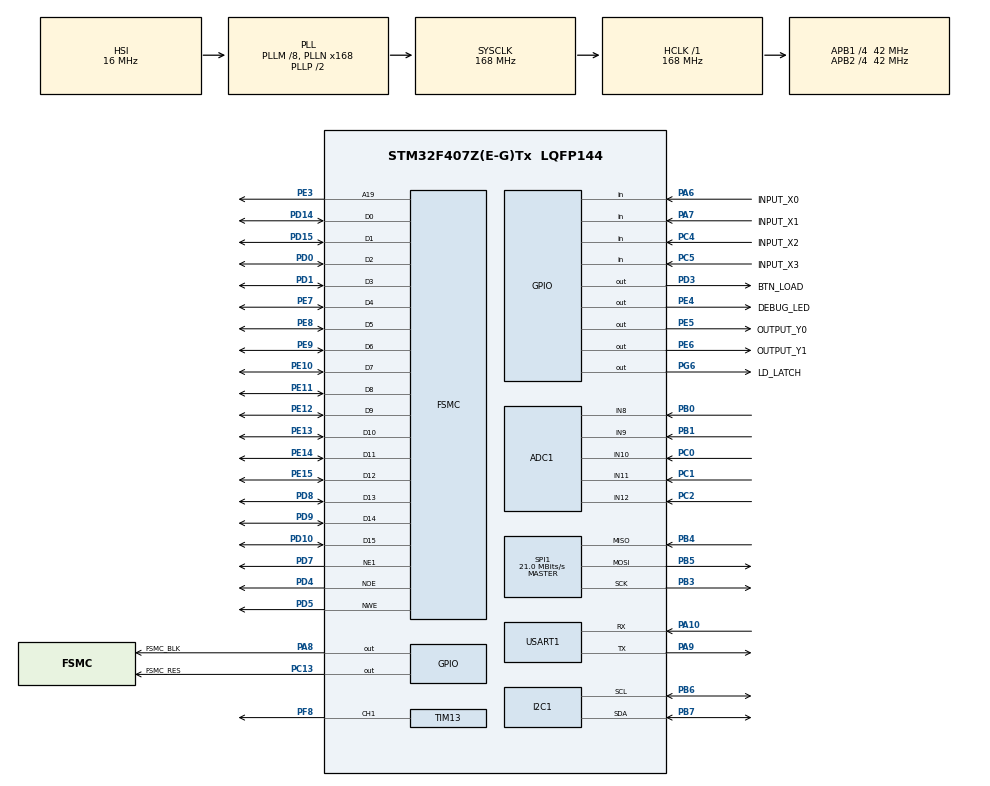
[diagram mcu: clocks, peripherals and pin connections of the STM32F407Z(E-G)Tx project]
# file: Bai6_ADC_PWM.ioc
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ADC1.Channel-0\#ChannelRegularConversion=ADC_CHANNEL_8
ADC1.Channel-1\#ChannelRegularConversion=ADC_CHANNEL_9
ADC1.Channel-2\#ChannelRegularConversion=ADC_CHANNEL_10
ADC1.Channel-3\#ChannelRegularConversion=ADC_CHANNEL_11
ADC1.Channel-4\#ChannelRegularConversion=ADC_CHANNEL_12
ADC1.NbrOfConversion=5
ADC1.NbrOfConversionFlag=1
ADC1.Rank-0\#ChannelRegularConversion=1
ADC1.Rank-1\#ChannelRegularConversion=2
ADC1.Rank-2\#ChannelRegularConversion=3
ADC1.Rank-3\#ChannelRegularConversion=4
ADC1.Rank-4\#ChannelRegularConversion=5
ADC1.SamplingTime-0\#ChannelRegularConversion=ADC_SAMPLETIME_3CYCLES
ADC1.SamplingTime-1\#ChannelRegularConversion=ADC_SAMPLETIME_3CYCLES
ADC1.SamplingTime-2\#ChannelRegularConversion=ADC_SAMPLETIME_3CYCLES
ADC1.SamplingTime-3\#ChannelRegularConversion=ADC_SAMPLETIME_3CYCLES
ADC1.SamplingTime-4\#ChannelRegularConversion=ADC_SAMPLETIME_3CYCLES
ADC1.ScanConvMode=ENABLE
ADC1.master=1
Dma.ADC1.0.Direction=DMA_PERIPH_TO_MEMORY
Dma.ADC1.0.FIFOMode=DMA_FIFOMODE_DISABLE
Dma.ADC1.0.Instance=DMA2_Stream0
Dma.ADC1.0.MemDataAlignment=DMA_MDATAALIGN_HALFWORD
Dma.ADC1.0.MemInc=DMA_MINC_ENABLE
Dma.ADC1.0.Mode=DMA_CIRCULAR
Dma.ADC1.0.PeriphDataAlignment=DMA_PDATAALIGN_HALFWORD
Dma.ADC1.0.PeriphInc=DMA_PINC_DISABLE
Dma.ADC1.0.Priority=DMA_PRIORITY_LOW
Dma.Request0=ADC1
FSMC.AddressSetupTime1=0xf
FSMC.BusTurnAroundDuration1=0
FSMC.DataSetupTime1=60
FSMC.ExtendedAddressSetupTime1=8
FSMC.ExtendedBusTurnAroundDuration1=0
FSMC.ExtendedDataSetupTime1=9
FSMC.ExtendedMode1=FSMC_EXTENDED_MODE_ENABLE
Mcu.Family=STM32F4
Mcu.Name=STM32F407Z(E-G)Tx
Mcu.Package=LQFP144
NVIC.DMA2_Stream0_IRQn=true\:0\:0\:false\:false\:true\:false\:true\:true
NVIC.PriorityGroup=NVIC_PRIORITYGROUP_4
NVIC.TIM2_IRQn=true\:0\:0\:false\:false\:true\:true\:true\:true
NVIC.USART1_IRQn=true\:0\:0\:false\:false\:true\:true\:true\:true
PA10.Mode=Asynchronous
PA10.Signal=USART1_RX
PA13.Mode=Serial_Wire
PA13.Signal=SYS_JTMS-SWDIO
PA14.Mode=Serial_Wire
PA14.Signal=SYS_JTCK-SWCLK
PA6.GPIO_Label=INPUT_X0
PA6.Signal=GPIO_Input
PA7.GPIO_Label=INPUT_X1
PA7.Signal=GPIO_Input
PA8.GPIO_Label=FSMC_BLK
PA8.Signal=GPIO_Output
PA9.Mode=Asynchronous
PA9.Signal=USART1_TX
PB0.Signal=ADCx_IN8
PB1.Signal=ADCx_IN9
PB3.Mode=Full_Duplex_Master
PB3.Signal=SPI1_SCK
PB4.Mode=Full_Duplex_Master
PB4.Signal=SPI1_MISO
PB5.Mode=Full_Duplex_Master
PB5.Signal=SPI1_MOSI
PB6.Mode=I2C
PB6.Signal=I2C1_SCL
PB7.Mode=I2C
PB7.Signal=I2C1_SDA
PC0.Signal=ADCx_IN10
PC1.Signal=ADCx_IN11
PC13-ANTI_TAMP.GPIO_Label=FSMC_RES
PC13-ANTI_TAMP.Signal=GPIO_Output
PC2.Signal=ADCx_IN12
PC4.GPIO_Label=INPUT_X2
PC4.Signal=GPIO_Input
PC5.GPIO_Label=INPUT_X3
PC5.Signal=GPIO_Input
PD0.Signal=FSMC_D2_DA2
PD1.Signal=FSMC_D3_DA3
PD10.Signal=FSMC_D15_DA15
PD14.Signal=FSMC_D0_DA0
PD15.Signal=FSMC_D1_DA1
PD3.GPIO_Label=BTN_LOAD
PD3.Signal=GPIO_Output
PD4.Signal=FSMC_NOE
PD5.Signal=FSMC_NWE
PD7.Mode=NorPsramChipSelect1_1
PD7.Signal=FSMC_NE1
PD8.Signal=FSMC_D13_DA13
PD9.Signal=FSMC_D14_DA14
PE10.Signal=FSMC_D7_DA7
PE11.Signal=FSMC_D8_DA8
PE12.Signal=FSMC_D9_DA9
PE13.Signal=FSMC_D10_DA10
PE14.Signal=FSMC_D11_DA11
PE15.Signal=FSMC_D12_DA12
PE3.Signal=FSMC_A19
PE4.GPIO_Label=DEBUG_LED
PE4.Signal=GPIO_Output
PE5.GPIO_Label=OUTPUT_Y0
PE5.Signal=GPIO_Output
PE6.GPIO_Label=OUTPUT_Y1
PE6.Signal=GPIO_Output
PE7.Signal=FSMC_D4_DA4
PE8.Signal=FSMC_D5_DA5
PE9.Signal=FSMC_D6_DA6
PF8.Signal=S_TIM13_CH1
PG6.GPIO_Label=LD_LATCH
PG6.Signal=GPIO_Output
PH0-OSC_IN.Mode=HSE-External-Oscillator
PH0-OSC_IN.Signal=RCC_OSC_IN
PH1-OSC_OUT.Mode=HSE-External-Oscillator
PH1-OSC_OUT.Signal=RCC_OSC_OUT
ProjectManager.HeapSize=0x200
ProjectManager.StackSize=0x400
ProjectManager.TargetToolchain=STM32CubeIDE
RCC.48MHZClocksFreq_Value=84000000
RCC.AHBFreq_Value=168000000
RCC.APB1CLKDivider=RCC_HCLK_DIV4
RCC.APB1Freq_Value=42000000
RCC.APB1TimFreq_Value=84000000
RCC.APB2CLKDivider=RCC_HCLK_DIV4
RCC.APB2Freq_Value=42000000
RCC.APB2TimFreq_Value=84000000
RCC.CortexFreq_Value=168000000
RCC.HCLKFreq_Value=168000000
RCC.HSE_VALUE=8000000
RCC.HSI_VALUE=16000000
RCC.LSE_VALUE=32768
RCC.PLLM=8
RCC.PLLN=168
RCC.SYSCLKFreq_VALUE=168000000
RCC.SYSCLKSource=RCC_SYSCLKSOURCE_PLLCLK
RCC.VCOOutputFreq_Value=336000000
SH.ADCx_IN10.0=ADC1_IN10,IN10
SH.ADCx_IN11.0=ADC1_IN11,IN11
SH.ADCx_IN12.0=ADC1_IN12,IN12
SH.ADCx_IN8.0=ADC1_IN8,IN8
SH.ADCx_IN9.0=ADC1_IN9,IN9
SH.FSMC_A19.0=FSMC_A19,A19_1
SH.FSMC_D0_DA0.0=FSMC_D0,16b-d1
SH.FSMC_D10_DA10.0=FSMC_D10,16b-d1
SH.FSMC_D11_DA11.0=FSMC_D11,16b-d1
SH.FSMC_D12_DA12.0=FSMC_D12,16b-d1
SH.FSMC_D13_DA13.0=FSMC_D13,16b-d1
SH.FSMC_D14_DA14.0=FSMC_D14,16b-d1
SH.FSMC_D15_DA15.0=FSMC_D15,16b-d1
SH.FSMC_D1_DA1.0=FSMC_D1,16b-d1
SH.FSMC_D2_DA2.0=FSMC_D2,16b-d1
SH.FSMC_D3_DA3.0=FSMC_D3,16b-d1
SH.FSMC_D4_DA4.0=FSMC_D4,16b-d1
SH.FSMC_D5_DA5.0=FSMC_D5,16b-d1
SH.FSMC_D6_DA6.0=FSMC_D6,16b-d1
SH.FSMC_D7_DA7.0=FSMC_D7,16b-d1
SH.FSMC_D8_DA8.0=FSMC_D8,16b-d1
SH.FSMC_D9_DA9.0=FSMC_D9,16b-d1
SH.FSMC_NOE.0=FSMC_NOE,Lcd1
SH.FSMC_NWE.0=FSMC_NWE,Lcd1
SH.S_TIM13_CH1.0=TIM13_CH1,PWM Generation1 CH1
SPI1.BaudRatePrescaler=SPI_BAUDRATEPRESCALER_2
SPI1.CalculateBaudRate=21.0 MBits/s
SPI1.Direction=SPI_DIRECTION_2LINES
SPI1.Mode=SPI_MODE_MASTER
SPI1.VirtualType=VM_MASTER
TIM13.Channel=TIM_CHANNEL_1
TIM13.Period=100-1
TIM13.Prescaler=840-1
TIM2.Period=100-1
TIM2.Prescaler=840-1
USART1.VirtualMode=VM_ASYNC
VP_TIM13_VS_ClockSourceINT.Mode=Enable_Timer
VP_TIM2_VS_ClockSourceINT.Mode=Internal
board=custom

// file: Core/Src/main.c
/* USER CODE BEGIN Header */
/**
 ******************************************************************************
 * @file           : main.c
 * @brief          : Main program body
 ******************************************************************************
 * @attention
 *
 * <h2><center>&copy; Copyright (c) 2023 STMicroelectronics.
 * All rights reserved.</center></h2>
 *
 * This software component is licensed by ST under BSD 3-Clause license,
 * the "License"; You may not use this file except in compliance with the
 * License. You may obtain a copy of the License at:
 *                        opensource.org/licenses/BSD-3-Clause
 *
 ******************************************************************************
 */
/* USER CODE END Header */
#include "main.h"
#include "adc.h"
#include "dma.h"
#include "i2c.h"
#include "spi.h"
#include "tim.h"
#include "usart.h"
#include "gpio.h"
#include "fsmc.h"

/* USER CODE BEGIN Includes */
#include "global.h"
/* USER CODE END Includes */

void SystemClock_Config(void);
/* USER CODE BEGIN PFP */
void system_init();
void test_LedDebug();
void test_Buzzer();
void test_Adc();
/* USER CODE END PFP */

int main(void)
{

  /* MCU Configuration--------------------------------------------------------*/

  /* Reset of all peripherals, Initializes the Flash interface and the Systick. */
  HAL_Init();

  /* Configure the system clock */
  SystemClock_Config();

  /* Initialize all configured peripherals */
  MX_GPIO_Init();
  MX_TIM2_Init();
  MX_SPI1_Init();
  MX_FSMC_Init();
  MX_I2C1_Init();
  MX_TIM13_Init();
  MX_DMA_Init();
  MX_ADC1_Init();
  MX_USART1_UART_Init();
  /* USER CODE BEGIN 2 */
  system_init();
  initFunc();
  updateTime();
  /* USER CODE END 2 */

  /* Infinite loop */
  /* USER CODE BEGIN WHILE */
  lcd_Clear(BLACK);
  while (1)
  {
    while (!flag_timer2)
      ;
    flag_timer2 = 0;
    button_Scan();
    test_LedDebug();
    //    test_Adc();
    //    test_Buzzer();
    get_Adc();
    fsm_Buzzer();
    time_and_comms();
    //	  sensor_Read();
    //	  sensor_GetVoltage();
    //	  sensor_GetCurrent();
    //	  HAL_Delay(1000);
    /* USER CODE END WHILE */

  }
}

void SystemClock_Config(void)
{
  RCC_OscInitTypeDef RCC_OscInitStruct = {0};
  RCC_ClkInitTypeDef RCC_ClkInitStruct = {0};

  /** Configure the main internal regulator output voltage
   */
  __HAL_RCC_PWR_CLK_ENABLE();
  __HAL_PWR_VOLTAGESCALING_CONFIG(PWR_REGULATOR_VOLTAGE_SCALE1);

  /** Initializes the RCC Oscillators according to the specified parameters
   * in the RCC_OscInitTypeDef structure.
   */
  RCC_OscInitStruct.OscillatorType = RCC_OSCILLATORTYPE_HSI;
  RCC_OscInitStruct.HSIState = RCC_HSI_ON;
  RCC_OscInitStruct.HSICalibrationValue = RCC_HSICALIBRATION_DEFAULT;
  RCC_OscInitStruct.PLL.PLLState = RCC_PLL_ON;
  RCC_OscInitStruct.PLL.PLLSource = RCC_PLLSOURCE_HSI;
  RCC_OscInitStruct.PLL.PLLM = 8;
  RCC_OscInitStruct.PLL.PLLN = 168;
  RCC_OscInitStruct.PLL.PLLP = RCC_PLLP_DIV2;
  RCC_OscInitStruct.PLL.PLLQ = 4;
  if (HAL_RCC_OscConfig(&RCC_OscInitStruct) != HAL_OK)
  {
    Error_Handler();
  }

  /** Initializes the CPU, AHB and APB buses clocks
   */
  RCC_ClkInitStruct.ClockType = RCC_CLOCKTYPE_HCLK | RCC_CLOCKTYPE_SYSCLK | RCC_CLOCKTYPE_PCLK1 | RCC_CLOCKTYPE_PCLK2;
  RCC_ClkInitStruct.SYSCLKSource = RCC_SYSCLKSOURCE_PLLCLK;
  RCC_ClkInitStruct.AHBCLKDivider = RCC_SYSCLK_DIV1;
  RCC_ClkInitStruct.APB1CLKDivider = RCC_HCLK_DIV4;
  RCC_ClkInitStruct.APB2CLKDivider = RCC_HCLK_DIV4;

  if (HAL_RCC_ClockConfig(&RCC_ClkInitStruct, FLASH_LATENCY_5) != HAL_OK)
  {
    Error_Handler();
  }
}

/* USER CODE BEGIN 4 */
void system_init()
{
  timer_init();
  button_init();
  lcd_init();
  sensor_init();
  buzzer_init();
  uart_init_rs232();
  setTimer2(50);
}

uint8_t count_led_debug = 0;

void test_LedDebug()
{
  count_led_debug = (count_led_debug + 1) % 20;
  if (count_led_debug == 0)
  {
    HAL_GPIO_TogglePin(DEBUG_LED_GPIO_Port, DEBUG_LED_Pin);
  }
}

uint8_t isButtonUp()
{
  if (button_count[3] == 1)
    return 1;
  else
    return 0;
}

uint8_t isButtonDown()
{
  if (button_count[7] == 1)
    return 1;
  else
    return 0;
}

uint8_t isButtonRight()
{
  if (button_count[11] == 1)
    return 1;
  else
    return 0;
}

void test_Adc()
{
  count_adc = (count_adc + 1) % 20;
  if (count_adc == 0)
  {
    sensor_Read();
    get_Voltage = sensor_GetVoltage();
    get_Current = sensor_GetCurrent();
    get_Power = get_Current * 0.001;
    get_Light = sensor_GetLight();
    get_Potentiometer = sensor_GetPotentiometer();
    get_Temperature = sensor_GetTemperature();
    // get_Potentiometer = ((float)sensor_GetPotentiometer() / 4095) * 100;
    // get_Potentiometer = sensor_GetPotentiometer();
    lcd_ShowStr(10, 100, "Voltage:", RED, BLACK, 16, 0);
    lcd_ShowFloatNum(130, 100, get_Voltage, 4, RED, BLACK, 16);
    lcd_ShowStr(10, 120, "Current:", RED, BLACK, 16, 0);
    lcd_ShowFloatNum(130, 120, get_Current, 5, RED, BLACK, 16);
    lcd_ShowStr(10, 140, "Power:", RED, BLACK, 16, 0);
    lcd_ShowFloatNum(130, 140, get_Power, 5, RED, BLACK, 16);
    lcd_ShowStr(10, 160, "Light:", RED, BLACK, 16, 0);
    lcd_ShowIntNum(130, 160, get_Light, 4, RED, BLACK, 16);
    lcd_ShowStr(10, 180, "Potentiometer:", RED, BLACK, 16, 0);
    lcd_ShowFloatNum(130, 180, get_Potentiometer, 5, RED, BLACK, 16);
    lcd_ShowStr(10, 200, "Potentiometer:", RED, BLACK, 16, 0);
    lcd_ShowFloatNum(130, 200, (float)get_Potentiometer / 4095, 5, RED, BLACK, 16);
    lcd_ShowStr(10, 220, "Temperature:", RED, BLACK, 16, 0);
    lcd_ShowFloatNum(130, 220, get_Temperature, 4, RED, BLACK, 16);
  }
}

void test_Buzzer()
{
  if (isButtonUp())
  {
    buzzer_SetVolume(50);
  }

  if (isButtonDown())
  {
    buzzer_SetVolume(0);
  }

  if (isButtonRight())
  {
    buzzer_SetVolume(75);
  }
}

/* USER CODE END 4 */

void Error_Handler(void)
{
  __disable_irq();
  while (1)
  {
  }
}
